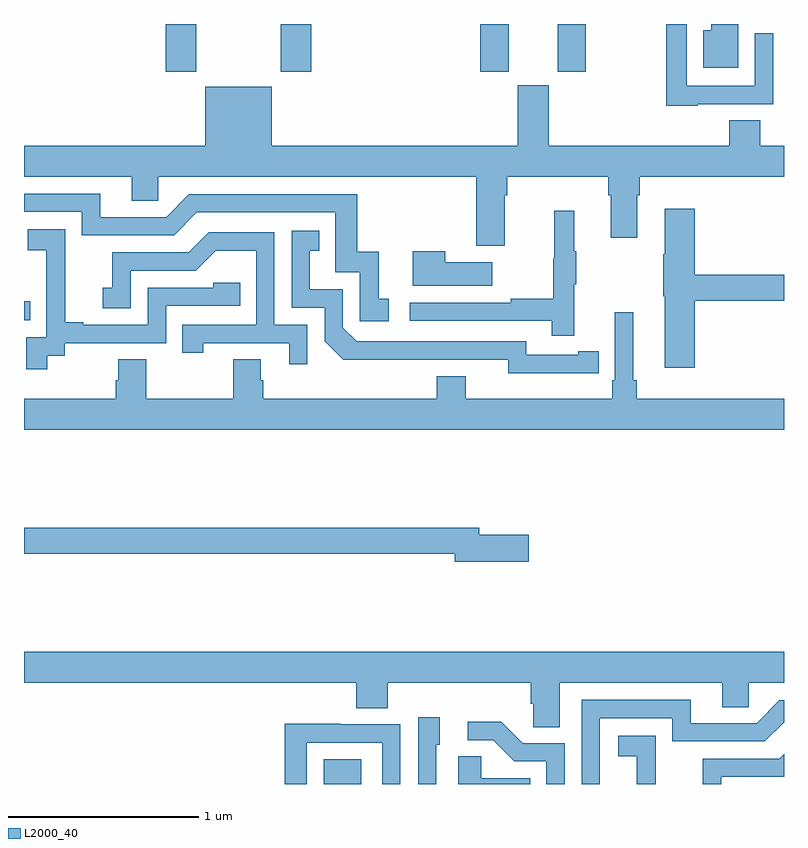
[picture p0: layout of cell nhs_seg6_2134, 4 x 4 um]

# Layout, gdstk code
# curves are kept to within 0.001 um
import gdstk
lib = gdstk.Library(unit=1e-6, precision=1e-09)
def R(c, l, rs):  # rectangles x0, y0, x1, y1
    for r in rs: c.add(gdstk.rectangle(r[:2], r[2:], *l))
def P(c, l, *ps):  # polygons
    for p in ps: c.add(gdstk.Polygon(p, *l))
L2000_40 = (2000, 40)

nhs_seg6_2134 = lib.new_cell('nhs_seg6_2134')
R(nhs_seg6_2134, L2000_40, [(240.578,917.5,240.775,917.629), (239,919.941,239.033,920.042), (239.747,921.249,239.907,921.5), (240.352,921.249,240.512,921.5), (241.4,921.249,241.552,921.5), (241.808,921.249,241.956,921.5)])
P(nhs_seg6_2134, L2000_40, [(242.758,921.5),(242.618,921.5),(242.618,921.466),(242.576,921.466),(242.576,921.269),(242.758,921.269)],
  [(242.547,921.078),(242.943,921.078),(242.943,921.451),(242.847,921.451),(242.847,921.174),(242.487,921.174),(242.487,921.5),(242.379,921.5),(242.379,921.071),(242.547,921.071)],
  [(241.531,920.6),(241.544,920.6),(241.544,920.696),(242.075,920.696),(242.075,920.6),(242.087,920.6),(242.087,920.376),(242.227,920.376),(242.227,920.6),(242.24,920.6),(242.24,920.696),(243,920.696),(243,920.86),(242.876,920.86),(242.876,920.993),(242.711,920.993),(242.711,920.86),(241.762,920.86),(241.762,921.177),(241.598,921.177),(241.598,920.86),(240.304,920.86),(240.304,921.169),(239.954,921.169),(239.954,920.86),(239,920.86),(239,920.696),(239.567,920.696),(239.567,920.569),(239.706,920.569),(239.706,920.696),(241.379,920.696),(241.379,920.334),(241.531,920.334)],
  [(240.919,920.055),(240.866,920.055),(240.866,920.302),(240.755,920.302),(240.755,920.604),(239.868,920.604),(239.748,920.484),(239.401,920.484),(239.401,920.607),(239,920.607),(239,920.511),(239.304,920.511),(239.304,920.388),(239.79,920.388),(239.91,920.508),(240.639,920.508),(240.639,920.193),(240.768,920.193),(240.768,919.935),(240.919,919.935)],
  [(242.531,920.044),(243,920.044),(243,920.18),(242.531,920.18),(242.531,920.527),(242.372,920.527),(242.372,920.288),(242.365,920.288),(242.365,920.067),(242.372,920.067),(242.372,919.692),(242.531,919.692)],
  [(241.895,920.131),(241.906,920.131),(241.906,920.305),(241.895,920.305),(241.895,920.518),(241.792,920.518),(241.792,920.268),(241.785,920.268),(241.785,920.054),(241.561,920.054),(241.561,920.034),(241.029,920.034),(241.029,919.938),(241.777,919.938),(241.777,919.86),(241.895,919.86)],
  [(239.122,919.753),(239.214,919.753),(239.214,919.821),(239.748,919.821),(239.748,920.016),(240.137,920.016),(240.137,920.139),(239.997,920.139),(239.997,920.112),(239.652,920.112),(239.652,919.917),(239.311,919.917),(239.311,919.93),(239.216,919.93),(239.216,920.213),(239.217,920.213),(239.217,920.419),(239.019,920.419),(239.019,920.309),(239.117,920.309),(239.117,920.081),(239.118,920.081),(239.118,919.851),(239.013,919.851),(239.013,919.683),(239.122,919.683)],
  [(241.916,919.662),(242.024,919.662),(242.024,919.778),(241.916,919.778),(241.916,919.758),(241.644,919.758),(241.644,919.83),(240.75,919.83),(240.678,919.902),(240.678,920.103),(240.505,920.103),(240.505,920.307),(240.554,920.307),(240.554,920.413),(240.408,920.413),(240.408,920.007),(240.582,920.007),(240.582,919.83),(240.68,919.733),(241.548,919.734),(241.548,919.661)],
  [(240.492,919.917),(240.318,919.917),(240.318,920.403),(239.972,920.403),(239.867,920.298),(239.464,920.298),(239.464,920.113),(239.415,920.113),(239.415,920.004),(239.562,920.004),(239.562,920.202),(239.904,920.202),(240.008,920.306),(240.222,920.306),(240.222,919.917),(239.833,919.917),(239.833,919.77),(239.944,919.77),(239.944,919.821),(240.395,919.821),(240.395,919.71),(240.492,919.71)],
  [(241.465,920.245),(241.217,920.245),(241.217,920.305),(241.046,920.305),(241.046,920.123),(241.465,920.123)],
  [(243,919.528),(242.225,919.528),(242.225,919.624),(242.206,919.624),(242.206,919.984),(242.109,919.984),(242.109,919.624),(242.096,919.624),(242.096,919.528),(241.324,919.528),(241.324,919.645),(241.172,919.645),(241.172,919.528),(240.26,919.528),(240.26,919.626),(240.247,919.626),(240.247,919.736),(240.1,919.736),(240.1,919.528),(239.643,919.528),(239.643,919.736),(239.495,919.736),(239.495,919.626),(239.483,919.626),(239.483,919.528),(239,919.528),(239,919.364),(243,919.364)],
  [(241.657,918.812),(241.396,918.812),(241.396,918.848),(239,918.848),(239,918.712),(241.268,918.712),(241.268,918.67),(241.657,918.67)],
  [(241.819,918.032),(242.675,918.032),(242.675,917.905),(242.814,917.905),(242.814,918.032),(243,918.032),(243,918.196),(239,918.196),(239,918.032),(240.749,918.032),(240.749,917.899),(240.914,917.899),(240.914,918.032),(241.667,918.032),(241.667,917.923),(241.68,917.923),(241.68,917.8),(241.819,917.8)],
  [(242.031,917.847),(242.412,917.847),(242.412,917.724),(242.898,917.724),(243,917.826),(243,917.94),(242.976,917.94),(242.856,917.82),(242.509,917.82),(242.509,917.943),(241.935,917.943),(241.935,917.5),(242.031,917.5)],
  [(241.17,917.706),(241.189,917.706),(241.189,917.851),(241.074,917.851),(241.074,917.5),(241.17,917.5)],
  [(241.845,917.715),(241.626,917.715),(241.513,917.828),(241.335,917.828),(241.335,917.73),(241.469,917.73),(241.58,917.619),(241.749,917.619),(241.749,917.5),(241.845,917.5)],
  [(240.489,917.718),(240.885,917.718),(240.885,917.5),(240.981,917.5),(240.981,917.814),(240.665,917.814),(240.665,917.816),(240.373,917.816),(240.373,917.5),(240.489,917.5)],
  [(242.324,917.549),(242.325,917.549),(242.325,917.755),(242.127,917.755),(242.127,917.645),(242.225,917.645),(242.225,917.5),(242.324,917.5)],
  [(242.67,917.538),(243,917.538),(243,917.659),(242.975,917.634),(242.572,917.634),(242.572,917.5),(242.67,917.5)],
  [(241.664,917.53),(241.407,917.53),(241.407,917.645),(241.286,917.645),(241.286,917.5),(241.664,917.5)])

lib.write_gds('nhs_seg6_2134.gds')
